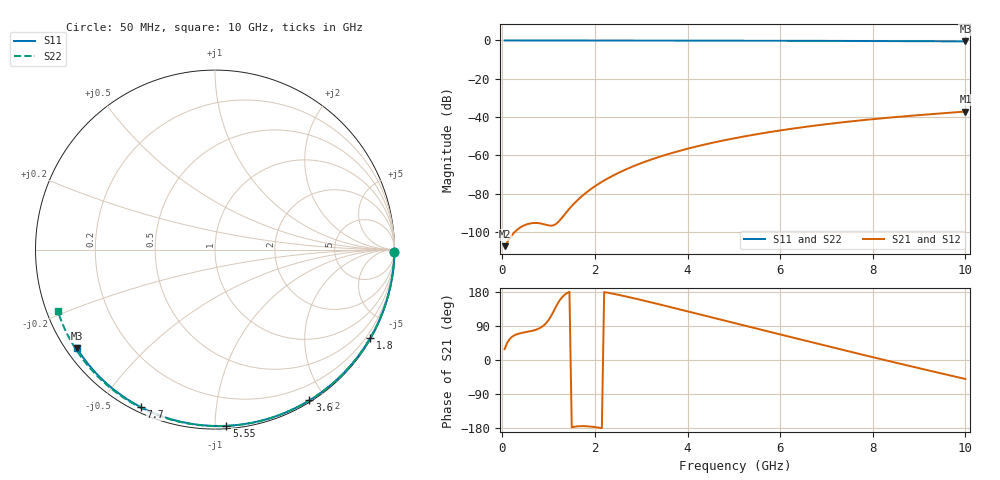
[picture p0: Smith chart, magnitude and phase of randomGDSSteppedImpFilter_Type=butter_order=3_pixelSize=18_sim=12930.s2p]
! freq	dB(S11)	phase(S11)	dB(S12)	phase(S12)
!  dB(S21)	phase(S21)	dB(S22)	phase(S22)
!S-par simulation data
#  GHz  S  DB  R 50
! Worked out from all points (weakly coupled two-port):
!   200 points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, 50 MHz to 10 GHz, reference 50 ohm
!   highest |S21| = -37.08 dB at 10 GHz (marker M1); lowest = -107.3 dB at 50 MHz (marker M2)
!   lowest |S11| = -0.5 dB at 10 GHz (marker M3), VSWR 35.59, Z = 1.55 - j16 ohm
!   |S11| at or under -10 dB: nowhere
!   |S22| runs from -0.5 to 0.0 dB; largest |S21 - S12| = 0
!   S11 on the Smith chart (normalised r, x): 50 MHz: open; 1.8 GHz: 0.03, -3.77; 3.6 GHz: 0.02, -1.81; 5.55 GHz: 0.02, -1.07; 7.7 GHz: 0.02, -0.64; 10 GHz: 0.03, -0.32
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0.05  -0.00 -0.8  -107.29 28.7  -107.29 28.7  -0.00 -0.9
0.45  -0.01 -7.5  -96.69 72.3  -96.69 72.3  -0.01 -8.3
0.9  -0.02 -15.0  -95.85 91.7  -95.85 91.7  -0.02 -16.4
1.3  -0.03 -21.6  -92.13 166.9  -92.13 166.9  -0.03 -23.6
1.75  -0.04 -28.9  -80.57 -174.5  -80.57 -174.5  -0.04 -31.6
1.8  -0.04 -29.7  -79.58 -174.7  -79.58 -174.7  -0.04 -32.5
1.95  -0.04 -32.1  -76.87 -176.2  -76.87 -176.2  -0.04 -35.1
2.1  -0.04 -34.5  -74.48 -178.7  -74.48 -178.7  -0.05 -37.7
2.3  -0.05 -37.7  -71.66 177.1  -71.66 177.1  -0.05 -41.2
2.5  -0.05 -40.9  -69.17 172.2  -69.17 172.2  -0.06 -44.7
2.9  -0.06 -47.2  -64.94 161.3  -64.94 161.3  -0.07 -51.5
3.4  -0.07 -54.9  -60.63 146.6  -60.63 146.6  -0.08 -59.9
3.6  -0.08 -57.9  -59.14 140.6  -59.14 140.6  -0.08 -63.2
4.3  -0.10 -68.4  -54.68 119.2  -54.68 119.2  -0.11 -74.6
5.05  -0.12 -79.2  -50.84 96.3  -50.84 96.3  -0.13 -86.3
5.55  -0.14 -86.3  -48.68 81.1  -48.68 81.1  -0.15 -94.0
6.1  -0.17 -93.9  -46.57 64.5  -46.57 64.5  -0.18 -102.3
6.7  -0.20 -102.0  -44.56 46.3  -44.56 46.3  -0.22 -111.1
7.7  -0.26 -115.1  -41.77 16.3  -41.77 16.3  -0.29 -125.5
8.35  -0.32 -123.5  -40.26 -2.9  -40.26 -2.9  -0.35 -134.8
9.2  -0.40 -134.3  -38.55 -27.4  -38.55 -27.4  -0.43 -147.0
10  -0.49 -144.5  -37.08 -50.1  -37.08 -50.1  -0.53 -158.7
